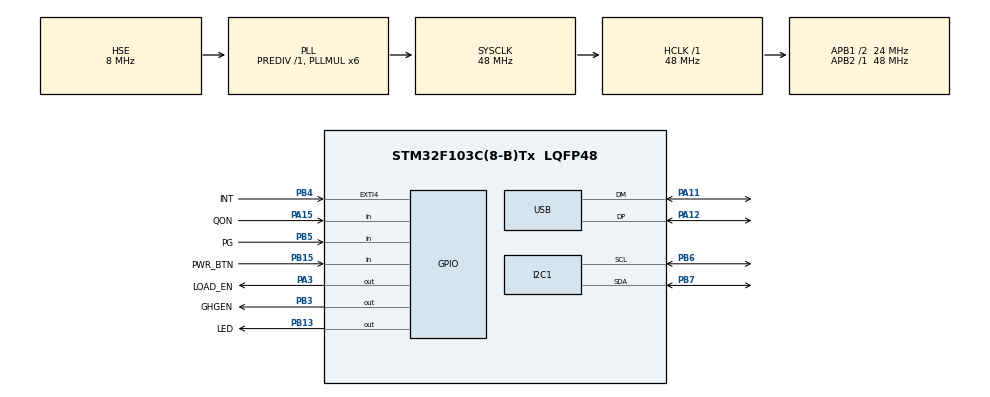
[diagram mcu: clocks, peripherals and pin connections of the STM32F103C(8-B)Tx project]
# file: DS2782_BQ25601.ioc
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I2C1.I2C_Mode=I2C_Fast
Mcu.Family=STM32F1
Mcu.Name=STM32F103C(8-B)Tx
Mcu.Package=LQFP48
NVIC.EXTI4_IRQn=true\:1\:0\:true\:false\:true\:true\:true
NVIC.I2C1_ER_IRQn=true\:2\:0\:true\:false\:true\:true\:true
NVIC.I2C1_EV_IRQn=true\:1\:0\:true\:false\:true\:true\:true
NVIC.PriorityGroup=NVIC_PRIORITYGROUP_4
NVIC.TIM4_IRQn=true\:0\:0\:false\:false\:true\:true\:true
NVIC.USB_LP_CAN1_RX0_IRQn=true\:0\:0\:false\:false\:true\:false\:true
PA11.Mode=Device
PA11.Signal=USB_DM
PA12.Mode=Device
PA12.Signal=USB_DP
PA13.Mode=Serial_Wire
PA13.Signal=SYS_JTMS-SWDIO
PA14.Mode=Serial_Wire
PA14.Signal=SYS_JTCK-SWCLK
PA15.GPIO_Label=QON
PA15.Signal=GPIO_Input
PA3.GPIO_Label=LOAD_EN
PA3.GPIO_PuPd=GPIO_PULLDOWN
PA3.Signal=GPIO_Output
PB13.GPIO_Label=LED
PB13.Signal=GPIO_Output
PB15.GPIO_Label=PWR_BTN
PB15.Signal=GPIO_Input
PB3.GPIO_Label=GHGEN
PB3.Signal=GPIO_Output
PB4.GPIO_Label=INT
PB4.GPIO_ModeDefaultEXTI=GPIO_MODE_IT_FALLING
PB4.Signal=GPXTI4
PB5.GPIO_Label=PG
PB5.GPIO_PuPd=GPIO_PULLUP
PB5.Signal=GPIO_Input
PB6.Mode=I2C
PB6.Signal=I2C1_SCL
PB7.Mode=I2C
PB7.Signal=I2C1_SDA
PD0-OSC_IN.Mode=HSE-External-Clock-Source
PD0-OSC_IN.Signal=RCC_OSC_IN
PD1-OSC_OUT.Mode=HSE-External-Clock-Source
PD1-OSC_OUT.Signal=RCC_OSC_OUT
ProjectManager.HeapSize=0x200
ProjectManager.StackSize=0x400
ProjectManager.TargetToolchain=STM32CubeIDE
RCC.AHBFreq_Value=48000000
RCC.APB1CLKDivider=RCC_HCLK_DIV2
RCC.APB1Freq_Value=24000000
RCC.APB1TimFreq_Value=48000000
RCC.APB2Freq_Value=48000000
RCC.APB2TimFreq_Value=48000000
RCC.HCLKFreq_Value=48000000
RCC.PLLMUL=RCC_PLL_MUL6
RCC.PLLSourceVirtual=RCC_PLLSOURCE_HSE
RCC.SYSCLKFreq_VALUE=48000000
RCC.SYSCLKSource=RCC_SYSCLKSOURCE_PLLCLK
RCC.USBFreq_Value=48000000
TIM4.Period=999
TIM4.Prescaler=4799
USB_DEVICE.CLASS_NAME_FS=CUSTOM_HID
USB_DEVICE.PID_CUSTOMHID_FS=22348
USB_DEVICE.VirtualMode=CustomHid
USB_DEVICE.VirtualModeFS=Custom_Hid_FS
VP_TIM4_VS_ClockSourceINT.Mode=Internal
VP_USB_DEVICE_VS_USB_DEVICE_CUSTOM_HID_FS.Mode=CUSTOM_HID_FS
board=custom

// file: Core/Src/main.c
/* USER CODE BEGIN Header */
/**
  ******************************************************************************
  * @file           : main.c
  * @brief          : Main program body
  ******************************************************************************
  * @attention
  *
  * <h2><center>&copy; Copyright (c) 2022 STMicroelectronics.
  * All rights reserved.</center></h2>
  *
  * This software component is licensed by ST under Ultimate Liberty license
  * SLA0044, the "License"; You may not use this file except in compliance with
  * the License. You may obtain a copy of the License at:
  *                             www.st.com/SLA0044
  *
  ******************************************************************************
  */
/* USER CODE END Header */
#include "main.h"
#include "usb_device.h"

/* USER CODE BEGIN Includes */
#include "bq25601.h"
#include "ds2782.h"
#include "queue.h"
#include "usbd_custom_hid_if.h"
/* USER CODE END Includes */

I2C_HandleTypeDef hi2c1;

TIM_HandleTypeDef htim4;

/* USER CODE BEGIN PV */
volatile uint8_t isUpdateEvent = 0;
volatile uint8_t ae_cnt_div = 0;
volatile uint8_t isLoadEnViaUsb = 0;
/* USER CODE END PV */

void SystemClock_Config(void);
static void MX_GPIO_Init(void);
static void MX_I2C1_Init(void);
static void MX_TIM4_Init(void);
/* USER CODE BEGIN PFP */
static void checkPowerButton(void);
static void processHostCommands(uint8_t* report_data);
static uint8_t sendStatusTickHandle(void);
/* USER CODE END PFP */

int main(void)
{
  /* USER CODE BEGIN 1 */
	uint8_t pg_state_prev = 0;
	BQ25601_Status bq25601_status;
	uint8_t ae_pwr_off_cntr = 0;
  /* USER CODE END 1 */

  /* MCU Configuration--------------------------------------------------------*/

  /* Reset of all peripherals, Initializes the Flash interface and the Systick. */
  HAL_Init();

  /* Configure the system clock */
  SystemClock_Config();

  /* Initialize all configured peripherals */
  MX_GPIO_Init();
  MX_I2C1_Init();
  MX_USB_DEVICE_Init();
  MX_TIM4_Init();
  /* USER CODE BEGIN 2 */
  bq25601_drv->SetChargerEnabled(1);
  bq25601_drv->Init();
  ds2782_drv->Init();
  HAL_TIM_Base_Start_IT(&htim4); // start scanning timer
  LED_GPIO_Port->ODR |= LED_Pin; // indicate power on state
  // enable load 66 mA if no input charger source
  Load_66mA_Ctrl((PG_GPIO_Port->IDR & PG_Pin) != 0);
  /* USER CODE END 2 */

  /* Infinite loop */
  while (1)
  {

    /* USER CODE BEGIN 3 */
	  if(isUpdateEvent)
	  {
		  isUpdateEvent = 0;

		  // check power button state
		  checkPowerButton();

		  // if active empty state and no charge input make power off
		  bq25601_drv->GetChargerState(&bq25601_status);
		  if((ds2782_drv->ReadStatus() & ACTIVE_EMPTY_FLAG) && (bq25601_status.vbus_status == NO_VBUS_INPUT))
		  {
			  if(ae_pwr_off_cntr++ > 5)
			  {
				  bq25601_drv->PowerOff();
			  }
		  }
		  else
		  {
			  ae_pwr_off_cntr = 0;
		  }

		  // detect active empty state
		  if((ds2782_drv->ReadStatus() & ACTIVE_EMPTY_FLAG) && ae_cnt_div == 3)
		  {
			  LED_GPIO_Port->ODR ^= LED_Pin;
		  }
		  else if(!(ds2782_drv->ReadStatus() & ACTIVE_EMPTY_FLAG))
		  {
			  LED_GPIO_Port->ODR |= LED_Pin;
		  }
		  ae_cnt_div = (ae_cnt_div+1) & 0x03;

		  /** send battery and DS2782 status data via USB. If status wasn't need to sent and commands queue isn't empty process
		   * Host commands */
		  if(!sendStatusTickHandle() && !commands_queue->IsEmpty())
		  {
			  processHostCommands(commands_queue->Poll());
		  }

		  // set load 66 mA state in depend from power good status, if it isn't enabled via USB
		  if(!isLoadEnViaUsb)
		  {
			  if(!(PG_GPIO_Port->IDR & PG_Pin) && pg_state_prev == 0)
			  {
				  pg_state_prev = 1;
				  Load_66mA_Ctrl(0);
			  }
			  else if((PG_GPIO_Port->IDR & PG_Pin) && pg_state_prev == 1)
			  {
				  pg_state_prev = 0;
				  Load_66mA_Ctrl(1);
			  }
		  }
	  }
  }
  /* USER CODE END 3 */
}

void SystemClock_Config(void)
{
  RCC_OscInitTypeDef RCC_OscInitStruct = {0};
  RCC_ClkInitTypeDef RCC_ClkInitStruct = {0};
  RCC_PeriphCLKInitTypeDef PeriphClkInit = {0};

  /** Initializes the RCC Oscillators according to the specified parameters
  * in the RCC_OscInitTypeDef structure.
  */
  RCC_OscInitStruct.OscillatorType = RCC_OSCILLATORTYPE_HSE;
  RCC_OscInitStruct.HSEState = RCC_HSE_BYPASS;
  RCC_OscInitStruct.HSEPredivValue = RCC_HSE_PREDIV_DIV1;
  RCC_OscInitStruct.HSIState = RCC_HSI_ON;
  RCC_OscInitStruct.PLL.PLLState = RCC_PLL_ON;
  RCC_OscInitStruct.PLL.PLLSource = RCC_PLLSOURCE_HSE;
  RCC_OscInitStruct.PLL.PLLMUL = RCC_PLL_MUL6;
  if (HAL_RCC_OscConfig(&RCC_OscInitStruct) != HAL_OK)
  {
    Error_Handler();
  }
  /** Initializes the CPU, AHB and APB buses clocks
  */
  RCC_ClkInitStruct.ClockType = RCC_CLOCKTYPE_HCLK|RCC_CLOCKTYPE_SYSCLK
                              |RCC_CLOCKTYPE_PCLK1|RCC_CLOCKTYPE_PCLK2;
  RCC_ClkInitStruct.SYSCLKSource = RCC_SYSCLKSOURCE_PLLCLK;
  RCC_ClkInitStruct.AHBCLKDivider = RCC_SYSCLK_DIV1;
  RCC_ClkInitStruct.APB1CLKDivider = RCC_HCLK_DIV2;
  RCC_ClkInitStruct.APB2CLKDivider = RCC_HCLK_DIV1;

  if (HAL_RCC_ClockConfig(&RCC_ClkInitStruct, FLASH_LATENCY_1) != HAL_OK)
  {
    Error_Handler();
  }
  PeriphClkInit.PeriphClockSelection = RCC_PERIPHCLK_USB;
  PeriphClkInit.UsbClockSelection = RCC_USBCLKSOURCE_PLL;
  if (HAL_RCCEx_PeriphCLKConfig(&PeriphClkInit) != HAL_OK)
  {
    Error_Handler();
  }
}

static void MX_I2C1_Init(void)
{

  hi2c1.Instance = I2C1;
  hi2c1.Init.ClockSpeed = 400000;
  hi2c1.Init.DutyCycle = I2C_DUTYCYCLE_2;
  hi2c1.Init.OwnAddress1 = 0;
  hi2c1.Init.AddressingMode = I2C_ADDRESSINGMODE_7BIT;
  hi2c1.Init.DualAddressMode = I2C_DUALADDRESS_DISABLE;
  hi2c1.Init.OwnAddress2 = 0;
  hi2c1.Init.GeneralCallMode = I2C_GENERALCALL_DISABLE;
  hi2c1.Init.NoStretchMode = I2C_NOSTRETCH_DISABLE;
  if (HAL_I2C_Init(&hi2c1) != HAL_OK)
  {
    Error_Handler();
  }

}

static void MX_TIM4_Init(void)
{

  TIM_ClockConfigTypeDef sClockSourceConfig = {0};
  TIM_MasterConfigTypeDef sMasterConfig = {0};

  htim4.Instance = TIM4;
  htim4.Init.Prescaler = 4799;
  htim4.Init.CounterMode = TIM_COUNTERMODE_UP;
  htim4.Init.Period = 999;
  htim4.Init.ClockDivision = TIM_CLOCKDIVISION_DIV1;
  htim4.Init.AutoReloadPreload = TIM_AUTORELOAD_PRELOAD_DISABLE;
  if (HAL_TIM_Base_Init(&htim4) != HAL_OK)
  {
    Error_Handler();
  }
  sClockSourceConfig.ClockSource = TIM_CLOCKSOURCE_INTERNAL;
  if (HAL_TIM_ConfigClockSource(&htim4, &sClockSourceConfig) != HAL_OK)
  {
    Error_Handler();
  }
  sMasterConfig.MasterOutputTrigger = TIM_TRGO_RESET;
  sMasterConfig.MasterSlaveMode = TIM_MASTERSLAVEMODE_DISABLE;
  if (HAL_TIMEx_MasterConfigSynchronization(&htim4, &sMasterConfig) != HAL_OK)
  {
    Error_Handler();
  }

}

static void MX_GPIO_Init(void)
{
  GPIO_InitTypeDef GPIO_InitStruct = {0};

  /* GPIO Ports Clock Enable */
  __HAL_RCC_GPIOD_CLK_ENABLE();
  __HAL_RCC_GPIOA_CLK_ENABLE();
  __HAL_RCC_GPIOB_CLK_ENABLE();

  /*Configure GPIO pin Output Level */
  HAL_GPIO_WritePin(LOAD_EN_GPIO_Port, LOAD_EN_Pin, GPIO_PIN_RESET);

  /*Configure GPIO pin Output Level */
  HAL_GPIO_WritePin(GPIOB, LED_Pin|GHGEN_Pin, GPIO_PIN_RESET);

  /*Configure GPIO pin : LOAD_EN_Pin */
  GPIO_InitStruct.Pin = LOAD_EN_Pin;
  GPIO_InitStruct.Mode = GPIO_MODE_OUTPUT_PP;
  GPIO_InitStruct.Pull = GPIO_PULLDOWN;
  GPIO_InitStruct.Speed = GPIO_SPEED_FREQ_LOW;
  HAL_GPIO_Init(LOAD_EN_GPIO_Port, &GPIO_InitStruct);

  /*Configure GPIO pins : LED_Pin GHGEN_Pin */
  GPIO_InitStruct.Pin = LED_Pin|GHGEN_Pin;
  GPIO_InitStruct.Mode = GPIO_MODE_OUTPUT_PP;
  GPIO_InitStruct.Pull = GPIO_NOPULL;
  GPIO_InitStruct.Speed = GPIO_SPEED_FREQ_LOW;
  HAL_GPIO_Init(GPIOB, &GPIO_InitStruct);

  /*Configure GPIO pin : PWR_BTN_Pin */
  GPIO_InitStruct.Pin = PWR_BTN_Pin;
  GPIO_InitStruct.Mode = GPIO_MODE_INPUT;
  GPIO_InitStruct.Pull = GPIO_NOPULL;
  HAL_GPIO_Init(PWR_BTN_GPIO_Port, &GPIO_InitStruct);

  /*Configure GPIO pin : QON_Pin */
  GPIO_InitStruct.Pin = QON_Pin;
  GPIO_InitStruct.Mode = GPIO_MODE_INPUT;
  GPIO_InitStruct.Pull = GPIO_NOPULL;
  HAL_GPIO_Init(QON_GPIO_Port, &GPIO_InitStruct);

  /*Configure GPIO pin : INT_Pin */
  GPIO_InitStruct.Pin = INT_Pin;
  GPIO_InitStruct.Mode = GPIO_MODE_IT_FALLING;
  GPIO_InitStruct.Pull = GPIO_NOPULL;
  HAL_GPIO_Init(INT_GPIO_Port, &GPIO_InitStruct);

  /*Configure GPIO pin : PG_Pin */
  GPIO_InitStruct.Pin = PG_Pin;
  GPIO_InitStruct.Mode = GPIO_MODE_INPUT;
  GPIO_InitStruct.Pull = GPIO_PULLUP;
  HAL_GPIO_Init(PG_GPIO_Port, &GPIO_InitStruct);

  /* EXTI interrupt init*/
  HAL_NVIC_SetPriority(EXTI4_IRQn, 1, 0);
  HAL_NVIC_EnableIRQ(EXTI4_IRQn);

}

/* USER CODE BEGIN 4 */
/**
 * @brief Check power button state. If button was pressed more than 1 s make power off
 * @param: None
 * @return: None
 */
static void checkPowerButton(void)
{
  static uint8_t powerOffCntr;
  static uint8_t isPwrBtnPressed;

  if((PWR_BTN_GPIO_Port->IDR & PWR_BTN_Pin) == 0 && !isPwrBtnPressed)
  {
	  isPwrBtnPressed = 1;
	  powerOffCntr++;
  }
  else if((PWR_BTN_GPIO_Port->IDR & PWR_BTN_Pin) == 0 && isPwrBtnPressed)
  {
	  if(powerOffCntr++ >= 10)
	  {
		  powerOffCntr = 0;
		  bq25601_drv->PowerOff();
	  }
  }
  else if((PWR_BTN_GPIO_Port->IDR & PWR_BTN_Pin) && isPwrBtnPressed)
  {
	  powerOffCntr = 0;
	  isPwrBtnPressed = 0;
  }
}

/**
 * @brief Process commands, received via HID reports from Host
 * @param: report_data - HID report data with command (0 - report ID, 1 - command ID, 2 - command data length, 3...36 - command data)
 * @return: None
 */
static void processHostCommands(uint8_t* report_data)
{
	uint8_t outputData[USBD_CUSTOMHID_INREPORT_BUF_SIZE]= {0};
	BQ25601_Status bq25601_status;
	BQ25601_FaultType charger_fault_state;

	if(report_data[0] == COMMANDS_ID)
	{
		switch(report_data[1])
		{
			case READ_DS2782_REGISTERS_DATA:
				outputData[0] = COMMANDS_RESPONSE_ID;
				outputData[1] = READ_DS2782_REGISTERS_DATA;
				outputData[2] = report_data[4];

				ds2782_drv->ReadRegistersMap(report_data[3], outputData+3, report_data[4]);
				USBD_CUSTOM_HID_SendReport_FS(outputData, report_data[4]+3);
				break;

			case READ_DS2782_EEPROM_DATA:
				outputData[0] = COMMANDS_RESPONSE_ID;
				outputData[1] = READ_DS2782_EEPROM_DATA;
				outputData[2] = report_data[5];
				ds2782_drv->ReadEepromBlock(report_data[3], report_data[4], outputData+3, report_data[5]);
				USBD_CUSTOM_HID_SendReport_FS(outputData, report_data[5]+3);
				break;

			case WRITE_DS2782_EEPROM_DATA:
				ds2782_drv->WriteEepromBlock(report_data[3], report_data[4], report_data+5, report_data[2]-2);
				break;

			case LOCK_DS2782_EEPROM_BLOCK: // disable lock DS2782 EEPROM function for debug purposes
				//ds2782_drv->LockEepromBlock(report_data[3] & 0x01);
				break;

			case READ_DS2782_EEPROM_LOCK_STATUS:
				outputData[0] = COMMANDS_RESPONSE_ID;
				outputData[1] = READ_DS2782_EEPROM_LOCK_STATUS;
				outputData[2] = 1;
				outputData[3] = ds2782_drv->IsEepromBlockLocked(report_data[3] & 0x01);
				USBD_CUSTOM_HID_SendReport_FS(outputData, 4);
				break;

			case READ_BQ25601_STATUS:
				outputData[0] = COMMANDS_RESPONSE_ID;
				outputData[1] = READ_BQ25601_STATUS;
				outputData[2] = sizeof(bq25601_status);
				bq25601_drv->GetChargerState(&bq25601_status);
				memcpy(outputData+3, &bq25601_status, sizeof(bq25601_status));
				USBD_CUSTOM_HID_SendReport_FS(outputData, sizeof(bq25601_status)+3);
				break;

			case READ_BQ25601_FAULTS:
				outputData[0] = COMMANDS_RESPONSE_ID;
				outputData[1] = READ_BQ25601_FAULTS;
				outputData[2] = sizeof(charger_fault_state);
				bq25601_drv->GetChargerFault(&charger_fault_state);
				memcpy(outputData+3, &charger_fault_state, sizeof(charger_fault_state));
				USBD_CUSTOM_HID_SendReport_FS(outputData, sizeof(charger_fault_state)+3);
				break;

			case BQ25601_CHG_CTRL:
				bq25601_drv->SetChargerEnabled(report_data[3] & 0x01);
				break;

			case LOAD_66MA_CTRL:
				isLoadEnViaUsb = report_data[3] & 0x01;
				Load_66mA_Ctrl(report_data[3] & 0x01);
				break;

			default:
				break;
		}
	}
}

/**
 * @brief Send DS2782 status and battery parameters
 * @param: None
 * @return: 0 - data wasn't sent, 1 - data was sent
 */
static uint8_t sendStatusTickHandle(void)
{
	static uint8_t battery_status_cnt_div;
	uint8_t outputData[USBD_CUSTOMHID_INREPORT_BUF_SIZE]= {0};
	uint8_t result = 0;
	int16_t batteryVoltage = 0;
	int16_t batteryCurrent = 0;

	if(battery_status_cnt_div < 20)
	{
	  battery_status_cnt_div++;
	}
	else
	{
	  battery_status_cnt_div = 0;

	  outputData[0] = COMMANDS_RESPONSE_ID;
	  outputData[1] = READ_DS2782_REGISTERS_DATA;
	  outputData[2] = 32;
	  // read DS2782 registers map
	  ds2782_drv->ReadRegistersMap(STATUS_REG, outputData+3, 31);
	  // read battery voltage and current values
	  batteryVoltage = ds2782_drv->ReadBatteryVoltage();
	  batteryCurrent = ds2782_drv->ReadBatteryCurrent();
	  // change battery voltage and current data
	  outputData[VOLT_MSB_REG+3-STATUS_REG] = (uint8_t)(batteryVoltage>>8);
	  outputData[VOLT_LSB_REG+3-STATUS_REG] = (uint8_t)(batteryVoltage & 0xFF);
	  outputData[CURRENT_MSB_REG+3-STATUS_REG] = (uint8_t)(batteryCurrent>>8);
	  outputData[CURRENT_LSB_REG+3-STATUS_REG] = (uint8_t)(batteryCurrent & 0xFF);
	  // read RSNSP value
	  outputData[35] = ds2782_drv->ReadRegister8b(RSNSP_MB);

	  USBD_CUSTOM_HID_SendReport_FS(outputData, sizeof(outputData));
	  result = 1;
	}
	return result;
}

/**
 * @brief Load 66 mA control
 * @param: is_enabled: 0 - load isn't connected, 1 - load is connected
 * @return: None
 */
void Load_66mA_Ctrl(uint8_t is_enabled)
{
	if(is_enabled)
	{
		LOAD_EN_GPIO_Port->ODR |= LOAD_EN_Pin;
	}
	else
	{
		LOAD_EN_GPIO_Port->ODR &= ~LOAD_EN_Pin;
	}
}

/**
  * @brief  Period elapsed callback in non-blocking mode
  * @param  htim TIM handle
  * @retval None
  */
void HAL_TIM_PeriodElapsedCallback(TIM_HandleTypeDef *htim)
{
	isUpdateEvent = 1;
}
/* USER CODE END 4 */

void Error_Handler(void)
{
  __disable_irq();
  while (1)
  {
  }
}
